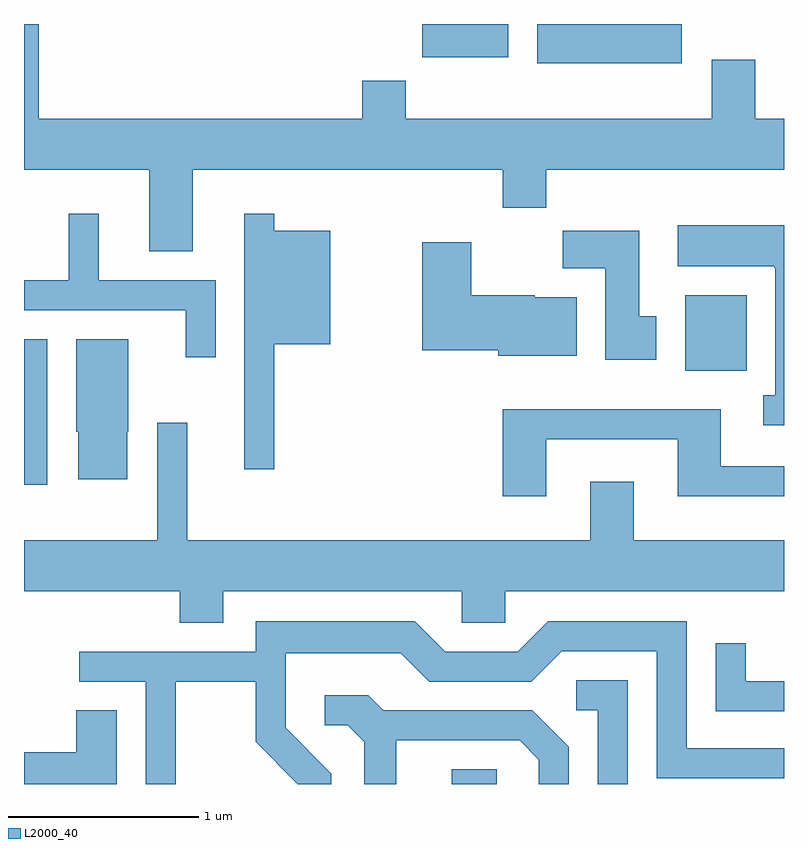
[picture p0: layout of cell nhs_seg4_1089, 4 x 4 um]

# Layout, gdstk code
import gdstk
lib = gdstk.Library(unit=1e-6, precision=1e-09)
def R(c, l, rs):  # rectangles x0, y0, x1, y1
    for r in rs: c.add(gdstk.rectangle(r[:2], r[2:], *l))
def P(c, l, *ps):  # polygons
    for p in ps: c.add(gdstk.Polygon(p, *l))
L2000_40 = (2000, 40)

nhs_seg4_1089 = lib.new_cell('nhs_seg4_1089')
R(nhs_seg4_1089, L2000_40, [(219.861,1255.982,220.099,1256.059), (217.611,1257.556,217.734,1258.324), (221.091,1258.156,221.414,1258.554), (220.311,1259.776,221.074,1259.982), (219.706,1259.806,220.159,1259.982)])
P(nhs_seg4_1089, L2000_40, [(218.499,1259.216),(220.131,1259.216),(220.131,1259.016),(220.359,1259.016),(220.359,1259.216),(221.611,1259.216),(221.611,1259.484),(221.459,1259.484),(221.459,1259.794),(221.231,1259.794),(221.231,1259.484),(219.619,1259.484),(219.619,1259.684),(219.391,1259.684),(219.391,1259.484),(217.689,1259.484),(217.689,1259.982),(217.611,1259.982),(217.611,1259.216),(218.271,1259.216),(218.271,1258.786),(218.499,1258.786)],
  [(218.619,1258.634),(218.004,1258.634),(218.004,1258.983),(217.846,1258.983),(217.846,1258.634),(217.611,1258.634),(217.611,1258.476),(218.461,1258.476),(218.461,1258.228),(218.619,1258.228)],
  [(218.929,1258.296),(219.224,1258.296),(219.224,1258.894),(218.929,1258.894),(218.929,1258.983),(218.771,1258.983),(218.771,1257.638),(218.929,1257.638)],
  [(221.611,1258.924),(221.051,1258.924),(221.051,1258.706),(221.56,1258.706),(221.56,1258.7),(221.566,1258.7),(221.566,1258.029),(221.503,1258.029),(221.503,1257.871),(221.611,1257.871)],
  [(220.939,1258.444),(220.849,1258.444),(220.849,1258.894),(220.446,1258.894),(220.446,1258.696),(220.671,1258.696),(220.671,1258.216),(220.939,1258.216)],
  [(220.519,1258.544),(220.3,1258.544),(220.3,1258.554),(219.964,1258.554),(219.964,1258.834),(219.706,1258.834),(219.706,1258.266),(220.106,1258.266),(220.106,1258.236),(220.519,1258.236)],
  [(218.154,1257.835),(218.159,1257.835),(218.159,1258.324),(217.886,1258.324),(217.886,1257.835),(217.896,1257.835),(217.896,1257.586),(218.154,1257.586)],
  [(220.359,1257.796),(221.051,1257.796),(221.051,1257.496),(221.611,1257.496),(221.611,1257.654),(221.279,1257.654),(221.279,1257.954),(220.131,1257.954),(220.131,1257.496),(220.359,1257.496)],
  [(218.659,1256.996),(219.916,1256.996),(219.916,1256.831),(220.144,1256.831),(220.144,1256.996),(221.611,1256.996),(221.611,1257.264),(220.819,1257.264),(220.819,1257.574),(220.591,1257.574),(220.591,1257.264),(218.469,1257.264),(218.469,1257.883),(218.311,1257.883),(218.311,1257.264),(217.611,1257.264),(217.611,1256.996),(218.431,1256.996),(218.431,1256.831),(218.659,1256.831)],
  [(218.409,1256.521),(218.831,1256.521),(218.831,1256.204),(219.053,1255.982),(219.229,1255.982),(219.229,1256.037),(218.989,1256.277),(218.989,1256.671),(219.594,1256.671),(219.744,1256.521),(220.282,1256.521),(220.442,1256.681),(220.941,1256.681),(220.941,1256.011),(221.611,1256.011),(221.611,1256.169),(221.099,1256.169),(221.099,1256.839),(220.369,1256.839),(220.209,1256.679),(219.827,1256.679),(219.667,1256.839),(218.831,1256.839),(218.831,1256.679),(217.903,1256.679),(217.903,1256.521),(218.251,1256.521),(218.251,1255.982),(218.409,1255.982)],
  [(221.611,1256.524),(221.409,1256.524),(221.409,1256.723),(221.251,1256.723),(221.251,1256.366),(221.611,1256.366)],
  [(220.789,1256.529),(220.518,1256.529),(220.518,1256.371),(220.631,1256.371),(220.631,1255.982),(220.789,1255.982)],
  [(219.569,1256.211),(220.219,1256.211),(220.321,1256.109),(220.321,1255.982),(220.479,1255.982),(220.479,1256.177),(220.287,1256.369),(219.502,1256.369),(219.422,1256.449),(219.193,1256.449),(219.193,1256.291),(219.314,1256.291),(219.401,1256.204),(219.401,1255.982),(219.569,1255.982)],
  [(218.099,1256.369),(217.886,1256.369),(217.886,1256.149),(217.611,1256.149),(217.611,1255.982),(218.099,1255.982)])

lib.write_gds('nhs_seg4_1089.gds')
